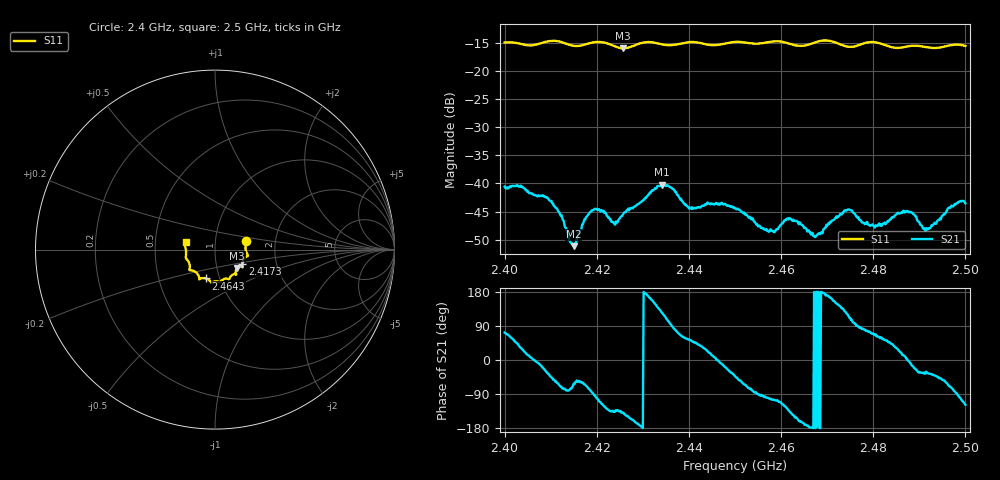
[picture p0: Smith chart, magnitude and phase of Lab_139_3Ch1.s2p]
# Hz S RI R 50
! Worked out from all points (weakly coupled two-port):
!   601 points, 2.4 GHz to 2.5 GHz, reference 50 ohm
!   highest |S21| = -40.23 dB at 2.4342 GHz (marker M1); lowest = -51.2 dB at 2.415 GHz (marker M2)
!   lowest |S11| = -15.9 dB at 2.4257 GHz (marker M3), VSWR 1.38, Z = 62.5 - j13.1 ohm
!   |S11| at or under -10 dB: start of sweep to end of sweep
!   S12 and S22 are empty: the file has one direction only
!   S11 on the Smith chart (normalised r, x): 2.4 GHz: 1.41, +0.14; 2.4173 GHz: 1.34, -0.23; 2.4643 GHz: 0.86, -0.29; 2.5 GHz: 0.72, +0.06
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2.4e9  0.1737 0.049  0.00282 0.00894  0 0  0 0
2.409667e9  0.1831 -0.0314  0.00555 -0.00441  0 0  0 0
2.415e9  0.1592 -0.0556  0.00128 -0.00245  0 0  0 0
2.416667e9  0.153 -0.0744  0.00202 -0.00337  0 0  0 0
2.417333e9  0.1523 -0.0818  0.00208 -0.00433  0 0  0 0
2.4195e9  0.1541 -0.0965  -0.000382 -0.00591  0 0  0 0
2.423667e9  0.1399 -0.0941  -0.0033 -0.00306  0 0  0 0
2.425667e9  0.123 -0.1025  -0.00405 -0.00342  0 0  0 0
2.433333e9  0.1126 -0.1365  -0.00699 0.00643  0 0  0 0
2.434167e9  0.1077 -0.1361  -0.00556 0.00799  0 0  0 0
2.440333e9  0.0794 -0.1642  0.00366 0.00481  0 0  0 0
2.45e9  0.0291 -0.1806  0.00448 -0.00407  0 0  0 0
2.457e9  -0.0135 -0.1807  -0.000636 -0.00372  0 0  0 0
2.4615e9  -0.0274 -0.1757  -0.00322 -0.00367  0 0  0 0
2.464333e9  -0.0499 -0.1608  -0.00411 -0.00133  0 0  0 0
2.466667e9  -0.076 -0.1596  -0.00351 -0.000127  0 0  0 0
2.474333e9  -0.1001 -0.1326  -0.00299 0.00498  0 0  0 0
2.479833e9  -0.1428 -0.1137  0.00154 0.00404  0 0  0 0
2.483333e9  -0.1405 -0.09  0.00315 0.00335  0 0  0 0
2.487833e9  -0.1595 -0.0519  0.00559 -0.000413  0 0  0 0
2.491833e9  -0.1614 -0.027  0.00321 -0.00222  0 0  0 0
2.5e9  -0.1631 0.0415  -0.00314 -0.00586  0 0  0 0
